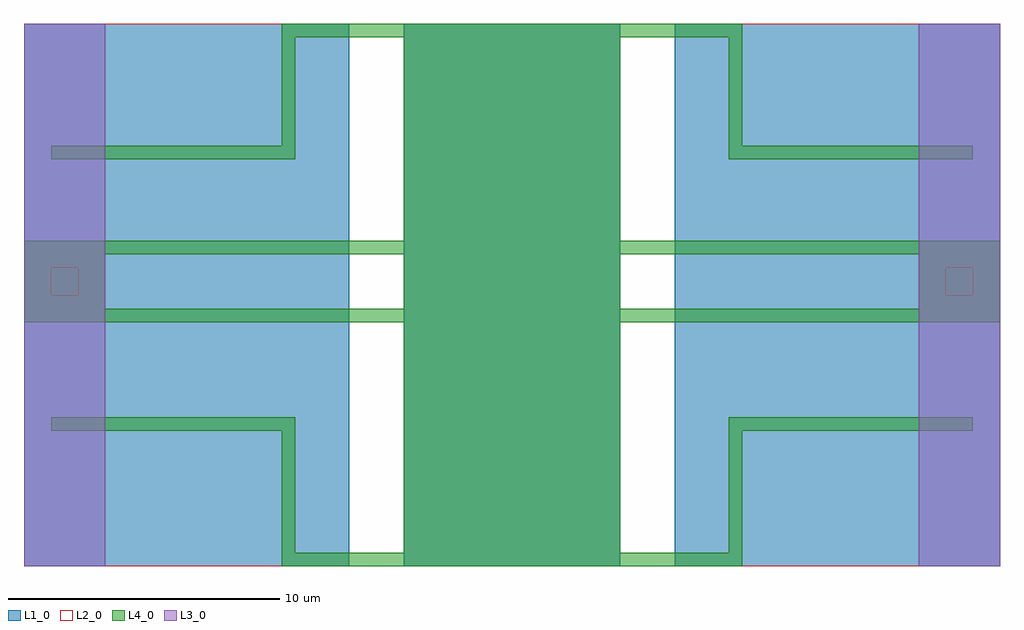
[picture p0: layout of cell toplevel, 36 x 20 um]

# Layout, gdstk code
import gdstk
lib = gdstk.Library(unit=1e-6, precision=1e-09)
def R(c, l, rs):  # rectangles x0, y0, x1, y1
    for r in rs: c.add(gdstk.rectangle(r[:2], r[2:], *l))
def P(c, l, *ps):  # polygons
    for p in ps: c.add(gdstk.Polygon(p, *l))
L1_0 = (1, 0)
L2_0 = (2, 0)
L3_0 = (3, 0)
L4_0 = (4, 0)

rectangle = lib.new_cell('rectangle')
R(rectangle, L1_0, [(0,0,8,20)])

rectangle002 = lib.new_cell('rectangle002')
R(rectangle002, L1_0, [(0,0,12,20)])

rectangle003 = lib.new_cell('rectangle003')
R(rectangle003, L1_0, [(0,0,12,20)])

rectangle004 = lib.new_cell('rectangle004')
R(rectangle004, L4_0, [(0,0,8,20)])

rectangle005 = lib.new_cell('rectangle005')
R(rectangle005, L4_0, [(0,0,4.5,0.5)])

rectangle006 = lib.new_cell('rectangle006')
R(rectangle006, L4_0, [(0,0,0.5,5.5)])

rectangle007 = lib.new_cell('rectangle007')
R(rectangle007, L4_0, [(0,0,9,0.5)])

rectangle008 = lib.new_cell('rectangle008')
R(rectangle008, L4_0, [(0,0,4.5,0.5)])

rectangle009 = lib.new_cell('rectangle009')
R(rectangle009, L4_0, [(0,0,0.5,5)])

rectangle010 = lib.new_cell('rectangle010')
R(rectangle010, L4_0, [(0,0,9,0.5)])

rectangle011 = lib.new_cell('rectangle011')
R(rectangle011, L4_0, [(0,0,4.5,0.5)])

rectangle012 = lib.new_cell('rectangle012')
R(rectangle012, L4_0, [(0,0,0.5,5.5)])

rectangle013 = lib.new_cell('rectangle013')
R(rectangle013, L4_0, [(0,0,9,0.5)])

rectangle014 = lib.new_cell('rectangle014')
R(rectangle014, L4_0, [(0,0,4.5,0.5)])

rectangle015 = lib.new_cell('rectangle015')
R(rectangle015, L4_0, [(0,0,0.5,5)])

rectangle016 = lib.new_cell('rectangle016')
R(rectangle016, L4_0, [(0,0,9,0.5)])

rectangle017 = lib.new_cell('rectangle017')
R(rectangle017, L4_0, [(0,0,11,0.5)])

rectangle018 = lib.new_cell('rectangle018')
R(rectangle018, L4_0, [(0,0,11,0.5)])

rectangle019 = lib.new_cell('rectangle019')
R(rectangle019, L4_0, [(0,0,11.5,0.5)])

rectangle020 = lib.new_cell('rectangle020')
R(rectangle020, L4_0, [(0,0,11.5,0.5)])

rectangle021 = lib.new_cell('rectangle021')
R(rectangle021, L4_0, [(0,0,3,3)])

rectangle022 = lib.new_cell('rectangle022')
R(rectangle022, L4_0, [(0,0,3,3)])

union = lib.new_cell('union')
R(union, L1_0, [(-18,0,-6,20), (-4,0,4,20), (6,0,18,20)])
P(union, L4_0, [(17,5),(17,5.5),(8,5.5),(8,0.5),(4,0.5),(4,9),(18,9),(18,12),(4,12),(4,19.5),(8,19.5),(8,15),(17,15),(17,15.5),(8.5,15.5),(8.5,20),(-8.5,20),(-8.5,15.5),(-17,15.5),(-17,15),(-8,15),(-8,19.5),(-4,19.5),(-4,12),(-18,12),(-18,9.5),(-15,9.5),(-15,11.5),(-4,11.5),(-4,9.5),(4,9.5),(4,11.5),(15,11.5),(15,9.5),(4,9.5),(-4,9.5),(-15,9.5),(-18,9.5),(-18,9),(-4,9),(-4,0.5),(-8,0.5),(-8,5.5),(-17,5.5),(-17,5),(-8.5,5),(-8.5,0),(8.5,0),(8.5,5)])

xor_diff = lib.new_cell('xor_diff')
P(xor_diff, L4_0, [(4,20),(-4,20),(-4,19.141),(-3.348,19.141),(-3.348,19.641),(-2.848,19.641),(-2.848,19.141),(-2.413,19.141),(-2.413,19.641),(-1.913,19.641),(-1.913,19.141),(-1.478,19.141),(-1.478,19.641),(-0.978,19.641),(-0.978,19.141),(-0.543,19.141),(-0.543,19.641),(-0.043,19.641),(-0.043,19.141),(0.391,19.141),(0.391,19.641),(0.891,19.641),(0.891,19.141),(1.326,19.141),(1.326,19.641),(1.826,19.641),(1.826,19.141),(2.261,19.141),(2.261,19.641),(2.761,19.641),(2.761,19.141),(3.196,19.141),(3.196,19.641),(3.696,19.641),(3.696,19.141),(3.196,19.141),(2.761,19.141),(2.261,19.141),(1.826,19.141),(1.326,19.141),(0.891,19.141),(0.391,19.141),(-0.043,19.141),(-0.543,19.141),(-0.978,19.141),(-1.478,19.141),(-1.913,19.141),(-2.413,19.141),(-2.848,19.141),(-3.348,19.141),(-4,19.141),(-4,17.922),(-3.348,17.922),(-3.348,18.422),(-2.848,18.422),(-2.848,17.922),(-2.413,17.922),(-2.413,18.422),(-1.913,18.422),(-1.913,17.922),(-1.478,17.922),(-1.478,18.422),(-0.978,18.422),(-0.978,17.922),(-0.543,17.922),(-0.543,18.422),(-0.043,18.422),(-0.043,17.922),(0.391,17.922),(0.391,18.422),(0.891,18.422),(0.891,17.922),(1.326,17.922),(1.326,18.422),(1.826,18.422),(1.826,17.922),(2.261,17.922),(2.261,18.422),(2.761,18.422),(2.761,17.922),(3.196,17.922),(3.196,18.422),(3.696,18.422),(3.696,17.922),(3.196,17.922),(2.761,17.922),(2.261,17.922),(1.826,17.922),(1.326,17.922),(0.891,17.922),(0.391,17.922),(-0.043,17.922),(-0.543,17.922),(-0.978,17.922),(-1.478,17.922),(-1.913,17.922),(-2.413,17.922),(-2.848,17.922),(-3.348,17.922),(-4,17.922),(-4,16.704),(-3.348,16.704),(-3.348,17.204),(-2.848,17.204),(-2.848,16.704),(-2.413,16.704),(-2.413,17.204),(-1.913,17.204),(-1.913,16.704),(-1.478,16.704),(-1.478,17.204),(-0.978,17.204),(-0.978,16.704),(-0.543,16.704),(-0.543,17.204),(-0.043,17.204),(-0.043,16.704),(0.391,16.704),(0.391,17.204),(0.891,17.204),(0.891,16.704),(1.326,16.704),(1.326,17.204),(1.826,17.204),(1.826,16.704),(2.261,16.704),(2.261,17.204),(2.761,17.204),(2.761,16.704),(3.196,16.704),(3.196,17.204),(3.696,17.204),(3.696,16.704),(3.196,16.704),(2.761,16.704),(2.261,16.704),(1.826,16.704),(1.326,16.704),(0.891,16.704),(0.391,16.704),(-0.043,16.704),(-0.543,16.704),(-0.978,16.704),(-1.478,16.704),(-1.913,16.704),(-2.413,16.704),(-2.848,16.704),(-3.348,16.704),(-4,16.704),(-4,15.485),(-3.348,15.485),(-3.348,15.985),(-2.848,15.985),(-2.848,15.485),(-2.413,15.485),(-2.413,15.985),(-1.913,15.985),(-1.913,15.485),(-1.478,15.485),(-1.478,15.985),(-0.978,15.985),(-0.978,15.485),(-0.543,15.485),(-0.543,15.985),(-0.043,15.985),(-0.043,15.485),(0.391,15.485),(0.391,15.985),(0.891,15.985),(0.891,15.485),(1.326,15.485),(1.326,15.985),(1.826,15.985),(1.826,15.485),(2.261,15.485),(2.261,15.985),(2.761,15.985),(2.761,15.485),(3.196,15.485),(3.196,15.985),(3.696,15.985),(3.696,15.485),(3.196,15.485),(2.761,15.485),(2.261,15.485),(1.826,15.485),(1.326,15.485),(0.891,15.485),(0.391,15.485),(-0.043,15.485),(-0.543,15.485),(-0.978,15.485),(-1.478,15.485),(-1.913,15.485),(-2.413,15.485),(-2.848,15.485),(-3.348,15.485),(-4,15.485),(-4,14.266),(-3.348,14.266),(-3.348,14.766),(-2.848,14.766),(-2.848,14.266),(-2.413,14.266),(-2.413,14.766),(-1.913,14.766),(-1.913,14.266),(-1.478,14.266),(-1.478,14.766),(-0.978,14.766),(-0.978,14.266),(-0.543,14.266),(-0.543,14.766),(-0.043,14.766),(-0.043,14.266),(0.391,14.266),(0.391,14.766),(0.891,14.766),(0.891,14.266),(1.326,14.266),(1.326,14.766),(1.826,14.766),(1.826,14.266),(2.261,14.266),(2.261,14.766),(2.761,14.766),(2.761,14.266),(3.196,14.266),(3.196,14.766),(3.696,14.766),(3.696,14.266),(3.196,14.266),(2.761,14.266),(2.261,14.266),(1.826,14.266),(1.326,14.266),(0.891,14.266),(0.391,14.266),(-0.043,14.266),(-0.543,14.266),(-0.978,14.266),(-1.478,14.266),(-1.913,14.266),(-2.413,14.266),(-2.848,14.266),(-3.348,14.266),(-4,14.266),(-4,13.048),(-3.348,13.048),(-3.348,13.548),(-2.848,13.548),(-2.848,13.048),(-2.413,13.048),(-2.413,13.548),(-1.913,13.548),(-1.913,13.048),(-1.478,13.048),(-1.478,13.548),(-0.978,13.548),(-0.978,13.048),(-0.543,13.048),(-0.543,13.548),(-0.043,13.548),(-0.043,13.048),(0.391,13.048),(0.391,13.548),(0.891,13.548),(0.891,13.048),(1.326,13.048),(1.326,13.548),(1.826,13.548),(1.826,13.048),(2.261,13.048),(2.261,13.548),(2.761,13.548),(2.761,13.048),(3.196,13.048),(3.196,13.548),(3.696,13.548),(3.696,13.048),(3.196,13.048),(2.761,13.048),(2.261,13.048),(1.826,13.048),(1.326,13.048),(0.891,13.048),(0.391,13.048),(-0.043,13.048),(-0.543,13.048),(-0.978,13.048),(-1.478,13.048),(-1.913,13.048),(-2.413,13.048),(-2.848,13.048),(-3.348,13.048),(-4,13.048),(-4,11.829),(-3.348,11.829),(-3.348,12.329),(-2.848,12.329),(-2.848,11.829),(-2.413,11.829),(-2.413,12.329),(-1.913,12.329),(-1.913,11.829),(-1.478,11.829),(-1.478,12.329),(-0.978,12.329),(-0.978,11.829),(-0.543,11.829),(-0.543,12.329),(-0.043,12.329),(-0.043,11.829),(0.391,11.829),(0.391,12.329),(0.891,12.329),(0.891,11.829),(1.326,11.829),(1.326,12.329),(1.826,12.329),(1.826,11.829),(2.261,11.829),(2.261,12.329),(2.761,12.329),(2.761,11.829),(3.196,11.829),(3.196,12.329),(3.696,12.329),(3.696,11.829),(3.196,11.829),(2.761,11.829),(2.261,11.829),(1.826,11.829),(1.326,11.829),(0.891,11.829),(0.391,11.829),(-0.043,11.829),(-0.543,11.829),(-0.978,11.829),(-1.478,11.829),(-1.913,11.829),(-2.413,11.829),(-2.848,11.829),(-3.348,11.829),(-4,11.829),(-4,10.611),(-3.348,10.611),(-3.348,11.111),(-2.848,11.111),(-2.848,10.611),(-2.413,10.611),(-2.413,11.111),(-1.913,11.111),(-1.913,10.611),(-1.478,10.611),(-1.478,11.111),(-0.978,11.111),(-0.978,10.611),(-0.543,10.611),(-0.543,11.111),(-0.043,11.111),(-0.043,10.611),(0.391,10.611),(0.391,11.111),(0.891,11.111),(0.891,10.611),(1.326,10.611),(1.326,11.111),(1.826,11.111),(1.826,10.611),(2.261,10.611),(2.261,11.111),(2.761,11.111),(2.761,10.611),(3.196,10.611),(3.196,11.111),(3.696,11.111),(3.696,10.611),(3.196,10.611),(2.761,10.611),(2.261,10.611),(1.826,10.611),(1.326,10.611),(0.891,10.611),(0.391,10.611),(-0.043,10.611),(-0.543,10.611),(-0.978,10.611),(-1.478,10.611),(-1.913,10.611),(-2.413,10.611),(-2.848,10.611),(-3.348,10.611),(-4,10.611),(-4,9.392),(-3.348,9.392),(-3.348,9.892),(-2.848,9.892),(-2.848,9.392),(-2.413,9.392),(-2.413,9.892),(-1.913,9.892),(-1.913,9.392),(-1.478,9.392),(-1.478,9.892),(-0.978,9.892),(-0.978,9.392),(-0.543,9.392),(-0.543,9.892),(-0.043,9.892),(-0.043,9.392),(0.391,9.392),(0.391,9.892),(0.891,9.892),(0.891,9.392),(1.326,9.392),(1.326,9.892),(1.826,9.892),(1.826,9.392),(2.261,9.392),(2.261,9.892),(2.761,9.892),(2.761,9.392),(3.196,9.392),(3.196,9.892),(3.696,9.892),(3.696,9.392),(3.196,9.392),(2.761,9.392),(2.261,9.392),(1.826,9.392),(1.326,9.392),(0.891,9.392),(0.391,9.392),(-0.043,9.392),(-0.543,9.392),(-0.978,9.392),(-1.478,9.392),(-1.913,9.392),(-2.413,9.392),(-2.848,9.392),(-3.348,9.392),(-4,9.392),(-4,8.174),(-3.348,8.174),(-3.348,8.674),(-2.848,8.674),(-2.848,8.174),(-2.413,8.174),(-2.413,8.674),(-1.913,8.674),(-1.913,8.174),(-1.478,8.174),(-1.478,8.674),(-0.978,8.674),(-0.978,8.174),(-0.543,8.174),(-0.543,8.674),(-0.043,8.674),(-0.043,8.174),(0.391,8.174),(0.391,8.674),(0.891,8.674),(0.891,8.174),(1.326,8.174),(1.326,8.674),(1.826,8.674),(1.826,8.174),(2.261,8.174),(2.261,8.674),(2.761,8.674),(2.761,8.174),(3.196,8.174),(3.196,8.674),(3.696,8.674),(3.696,8.174),(3.196,8.174),(2.761,8.174),(2.261,8.174),(1.826,8.174),(1.326,8.174),(0.891,8.174),(0.391,8.174),(-0.043,8.174),(-0.543,8.174),(-0.978,8.174),(-1.478,8.174),(-1.913,8.174),(-2.413,8.174),(-2.848,8.174),(-3.348,8.174),(-4,8.174),(-4,6.955),(-3.348,6.955),(-3.348,7.455),(-2.848,7.455),(-2.848,6.955),(-2.413,6.955),(-2.413,7.455),(-1.913,7.455),(-1.913,6.955),(-1.478,6.955),(-1.478,7.455),(-0.978,7.455),(-0.978,6.955),(-0.543,6.955),(-0.543,7.455),(-0.043,7.455),(-0.043,6.955),(0.391,6.955),(0.391,7.455),(0.891,7.455),(0.891,6.955),(1.326,6.955),(1.326,7.455),(1.826,7.455),(1.826,6.955),(2.261,6.955),(2.261,7.455),(2.761,7.455),(2.761,6.955),(3.196,6.955),(3.196,7.455),(3.696,7.455),(3.696,6.955),(3.196,6.955),(2.761,6.955),(2.261,6.955),(1.826,6.955),(1.326,6.955),(0.891,6.955),(0.391,6.955),(-0.043,6.955),(-0.543,6.955),(-0.978,6.955),(-1.478,6.955),(-1.913,6.955),(-2.413,6.955),(-2.848,6.955),(-3.348,6.955),(-4,6.955),(-4,5.737),(-3.348,5.737),(-3.348,6.237),(-2.848,6.237),(-2.848,5.737),(-2.413,5.737),(-2.413,6.237),(-1.913,6.237),(-1.913,5.737),(-1.478,5.737),(-1.478,6.237),(-0.978,6.237),(-0.978,5.737),(-0.543,5.737),(-0.543,6.237),(-0.043,6.237),(-0.043,5.737),(0.391,5.737),(0.391,6.237),(0.891,6.237),(0.891,5.737),(1.326,5.737),(1.326,6.237),(1.826,6.237),(1.826,5.737),(2.261,5.737),(2.261,6.237),(2.761,6.237),(2.761,5.737),(3.196,5.737),(3.196,6.237),(3.696,6.237),(3.696,5.737),(3.196,5.737),(2.761,5.737),(2.261,5.737),(1.826,5.737),(1.326,5.737),(0.891,5.737),(0.391,5.737),(-0.043,5.737),(-0.543,5.737),(-0.978,5.737),(-1.478,5.737),(-1.913,5.737),(-2.413,5.737),(-2.848,5.737),(-3.348,5.737),(-4,5.737),(-4,4.518),(-3.348,4.518),(-3.348,5.018),(-2.848,5.018),(-2.848,4.518),(-2.413,4.518),(-2.413,5.018),(-1.913,5.018),(-1.913,4.518),(-1.478,4.518),(-1.478,5.018),(-0.978,5.018),(-0.978,4.518),(-0.543,4.518),(-0.543,5.018),(-0.043,5.018),(-0.043,4.518),(0.391,4.518),(0.391,5.018),(0.891,5.018),(0.891,4.518),(1.326,4.518),(1.326,5.018),(1.826,5.018),(1.826,4.518),(2.261,4.518),(2.261,5.018),(2.761,5.018),(2.761,4.518),(3.196,4.518),(3.196,5.018),(3.696,5.018),(3.696,4.518),(3.196,4.518),(2.761,4.518),(2.261,4.518),(1.826,4.518),(1.326,4.518),(0.891,4.518),(0.391,4.518),(-0.043,4.518),(-0.543,4.518),(-0.978,4.518),(-1.478,4.518),(-1.913,4.518),(-2.413,4.518),(-2.848,4.518),(-3.348,4.518),(-4,4.518),(-4,3.299),(-3.348,3.299),(-3.348,3.799),(-2.848,3.799),(-2.848,3.299),(-2.413,3.299),(-2.413,3.799),(-1.913,3.799),(-1.913,3.299),(-1.478,3.299),(-1.478,3.799),(-0.978,3.799),(-0.978,3.299),(-0.543,3.299),(-0.543,3.799),(-0.043,3.799),(-0.043,3.299),(0.391,3.299),(0.391,3.799),(0.891,3.799),(0.891,3.299),(1.326,3.299),(1.326,3.799),(1.826,3.799),(1.826,3.299),(2.261,3.299),(2.261,3.799),(2.761,3.799),(2.761,3.299),(3.196,3.299),(3.196,3.799),(3.696,3.799),(3.696,3.299),(3.196,3.299),(2.761,3.299),(2.261,3.299),(1.826,3.299),(1.326,3.299),(0.891,3.299),(0.391,3.299),(-0.043,3.299),(-0.543,3.299),(-0.978,3.299),(-1.478,3.299),(-1.913,3.299),(-2.413,3.299),(-2.848,3.299),(-3.348,3.299),(-4,3.299),(-4,2.081),(-3.348,2.081),(-3.348,2.581),(-2.848,2.581),(-2.848,2.081),(-2.413,2.081),(-2.413,2.581),(-1.913,2.581),(-1.913,2.081),(-1.478,2.081),(-1.478,2.581),(-0.978,2.581),(-0.978,2.081),(-0.543,2.081),(-0.543,2.581),(-0.043,2.581),(-0.043,2.081),(0.391,2.081),(0.391,2.581),(0.891,2.581),(0.891,2.081),(1.326,2.081),(1.326,2.581),(1.826,2.581),(1.826,2.081),(2.261,2.081),(2.261,2.581),(2.761,2.581),(2.761,2.081),(3.196,2.081),(3.196,2.581),(3.696,2.581),(3.696,2.081),(3.196,2.081),(2.761,2.081),(2.261,2.081),(1.826,2.081),(1.326,2.081),(0.891,2.081),(0.391,2.081),(-0.043,2.081),(-0.543,2.081),(-0.978,2.081),(-1.478,2.081),(-1.913,2.081),(-2.413,2.081),(-2.848,2.081),(-3.348,2.081),(-4,2.081),(-4,0.862),(-3.348,0.862),(-3.348,1.362),(-2.848,1.362),(-2.848,0.862),(-2.413,0.862),(-2.413,1.362),(-1.913,1.362),(-1.913,0.862),(-1.478,0.862),(-1.478,1.362),(-0.978,1.362),(-0.978,0.862),(-0.543,0.862),(-0.543,1.362),(-0.043,1.362),(-0.043,0.862),(0.391,0.862),(0.391,1.362),(0.891,1.362),(0.891,0.862),(1.326,0.862),(1.326,1.362),(1.826,1.362),(1.826,0.862),(2.261,0.862),(2.261,1.362),(2.761,1.362),(2.761,0.862),(3.196,0.862),(3.196,1.362),(3.696,1.362),(3.696,0.862),(3.196,0.862),(2.761,0.862),(2.261,0.862),(1.826,0.862),(1.326,0.862),(0.891,0.862),(0.391,0.862),(-0.043,0.862),(-0.543,0.862),(-0.978,0.862),(-1.478,0.862),(-1.913,0.862),(-2.413,0.862),(-2.848,0.862),(-3.348,0.862),(-4,0.862),(-4,0),(4,0)])

unnamed023 = lib.new_cell('Unnamed023')
unnamed023.add(gdstk.Reference(xor_diff, (0,0)))

xor_diff024 = lib.new_cell('xor_diff024')
P(xor_diff024, L2_0, [(18,20),(-18,20),(-18,10),(-17,10),(-17,11),(-16,11),(-16,10),(16,10),(16,11),(17,11),(17,10),(16,10),(-16,10),(-17,10),(-18,10),(-18,0),(18,0)])

xor_diff025 = lib.new_cell('xor_diff025')
R(xor_diff025, L3_0, [(-18,0,-15,20), (15,0,18,20)])

toplevel = lib.new_cell('toplevel')
toplevel.add(gdstk.Reference(rectangle, (-4,0)))
toplevel.add(gdstk.Reference(rectangle002, (6,0)))
toplevel.add(gdstk.Reference(rectangle003, (-18,0)))
toplevel.add(gdstk.Reference(rectangle004, (-4,0)))
toplevel.add(gdstk.Reference(rectangle005, (-8.5,0)))
toplevel.add(gdstk.Reference(rectangle006, (-8.5,0)))
toplevel.add(gdstk.Reference(rectangle007, (-17,5)))
toplevel.add(gdstk.Reference(rectangle008, (-8.5,19.5)))
toplevel.add(gdstk.Reference(rectangle009, (-8.5,15)))
toplevel.add(gdstk.Reference(rectangle010, (-17,15)))
toplevel.add(gdstk.Reference(rectangle011, (4,0)))
toplevel.add(gdstk.Reference(rectangle012, (8,0)))
toplevel.add(gdstk.Reference(rectangle013, (8,5)))
toplevel.add(gdstk.Reference(rectangle014, (4,19.5)))
toplevel.add(gdstk.Reference(rectangle015, (8,15)))
toplevel.add(gdstk.Reference(rectangle016, (8,15)))
toplevel.add(gdstk.Reference(rectangle017, (4,11.5)))
toplevel.add(gdstk.Reference(rectangle018, (4,9)))
toplevel.add(gdstk.Reference(rectangle019, (-15.5,11.5)))
toplevel.add(gdstk.Reference(rectangle020, (-15.5,9)))
toplevel.add(gdstk.Reference(rectangle021, (15,9)))
toplevel.add(gdstk.Reference(rectangle022, (-18,9)))
toplevel.add(gdstk.Reference(union, (0,0)))
toplevel.add(gdstk.Reference(unnamed023, (0,0)))
toplevel.add(gdstk.Reference(xor_diff024, (0,0)))
toplevel.add(gdstk.Reference(xor_diff025, (0,0)))

lib.write_gds('toplevel.gds')
